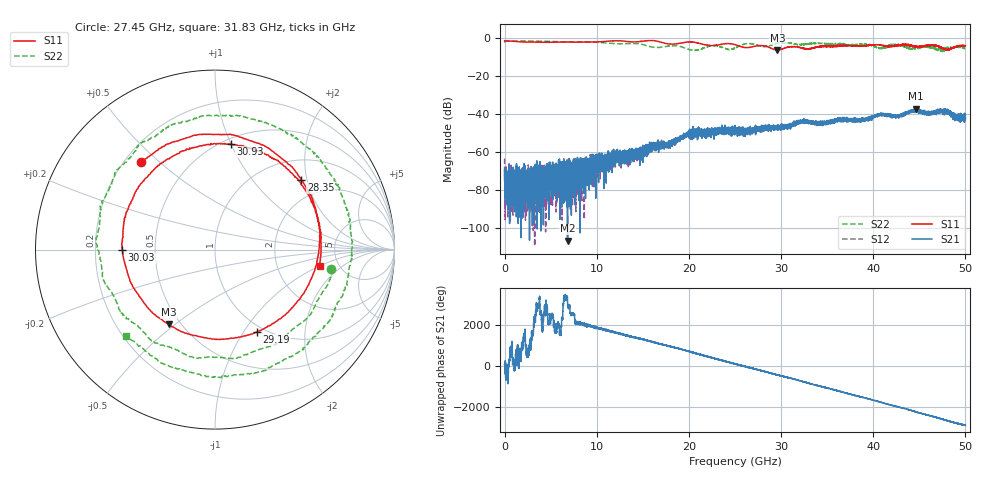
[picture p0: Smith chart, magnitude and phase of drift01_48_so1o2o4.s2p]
!Created with skrf (http://scikit-rf.org).
# Hz S RI R 50.0
!freq ReS11 ImS11 ReS21 ImS21 ReS12 ImS12 ReS22 ImS22
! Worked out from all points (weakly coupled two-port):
!   10001 points, 300 kHz to 50 GHz, reference 50 ohm
!   highest |S21| = -37.10 dB at 44.61 GHz (marker M1); lowest = -106.6 dB at 6.83 GHz (marker M2)
!   lowest |S11| = -6.2 dB at 29.61 GHz (marker M3), VSWR 2.91, Z = 21.7 - j23.7 ohm
!   |S11| at or under -10 dB: nowhere
!   |S22| runs from -7.0 to -1.4 dB; largest |S21 - S12| = 0.0042
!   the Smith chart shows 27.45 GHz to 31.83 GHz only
!   S11 on the Smith chart (normalised r, x): 27.45 GHz: 0.27, +0.44; 28.35 GHz: 1.47, +1.85; 29.19 GHz: 0.92, -1.15; 30.03 GHz: 0.32, -0.00; 30.93 GHz: 0.55, +1.00; 31.83 GHz: 3.57, -1.01
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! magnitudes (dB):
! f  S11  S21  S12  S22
! 300 kHz  -1.3  -72.3  -63.3  -2.1
! 310.3 MHz  -1.4  -76.4  -74.1  -1.4
! 2.825 GHz  -2.0  -73.1  -80.2  -1.4
! 6.83 GHz  -1.9  -106.6  -75.8  -1.9
! 8.335 GHz  -2.0  -70.0  -73.4  -1.8
! 16.67 GHz  -1.7  -58.4  -55.8  -4.8
! 18.62 GHz  -2.9  -54.7  -54.3  -3.9
! 20.32 GHz  -1.9  -52.1  -50.3  -6.2
! 22.6 GHz  -3.9  -49.7  -49.7  -3.8
! 25 GHz  -3.4  -45.9  -49.6  -5.1
! 27.45 GHz  -3.9  -48.2  -48.2  -3.6
! 28.35 GHz  -4.2  -48.0  -46.6  -4.2
! 29.19 GHz  -5.8  -47.0  -47.0  -3.1
! 29.61 GHz  -6.2  -45.7  -46.8  -2.5
! 30.03 GHz  -5.7  -46.6  -47.7  -2.4
! 30.93 GHz  -4.5  -46.4  -46.0  -2.6
! 31.83 GHz  -4.6  -44.5  -44.8  -3.2
! 33.34 GHz  -5.3  -44.3  -44.1  -2.7
! 41.67 GHz  -4.2  -40.3  -40.7  -4.4
! 44.61 GHz  -4.5  -37.1  -38.7  -4.9
! 47.91 GHz  -5.9  -37.7  -39.5  -5.0
! 50 GHz  -3.9  -42.6  -42.1  -5.4
